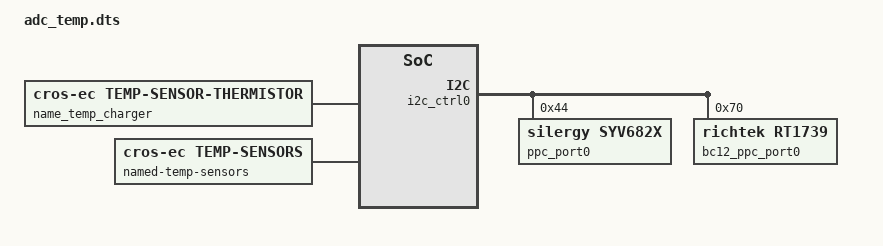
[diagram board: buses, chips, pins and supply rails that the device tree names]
/* Copyright 2022 The ChromiumOS Authors
 * Use of this source code is governed by a BSD-style license that can be
 * found in the LICENSE file.
 */

#include <cros/thermistor/thermistor.dtsi>

/ {
	name_temp_charger: charger {
		compatible = "cros-ec,temp-sensor-thermistor";

		thermistor = <&thermistor_rt9490>;
		adc = <&adc_charger>;
	};

	named-temp-sensors {
		compatible = "cros-ec,temp-sensors";
		temp_charger: charger {
			status = "okay";
			sensor = <&name_temp_charger>;
		};
	};

	usbc {
		port0@0 {
			ppc = <&bc12_ppc_port0>;
			ppc_alt = <&ppc_port0>;
		};
	};
};

&i2c_ctrl0 {
	ppc_port0: syv682x@44 {
		compatible = "silergy,syv682x", "cros,i2c-mock";
		status = "okay";
		reg = <0x44>;
	};

	bc12_ppc_port0: rt1739@70 {
		compatible = "richtek,rt1739", "cros,i2c-mock";
		status = "okay";
		reg = <0x70>;
	};
};
